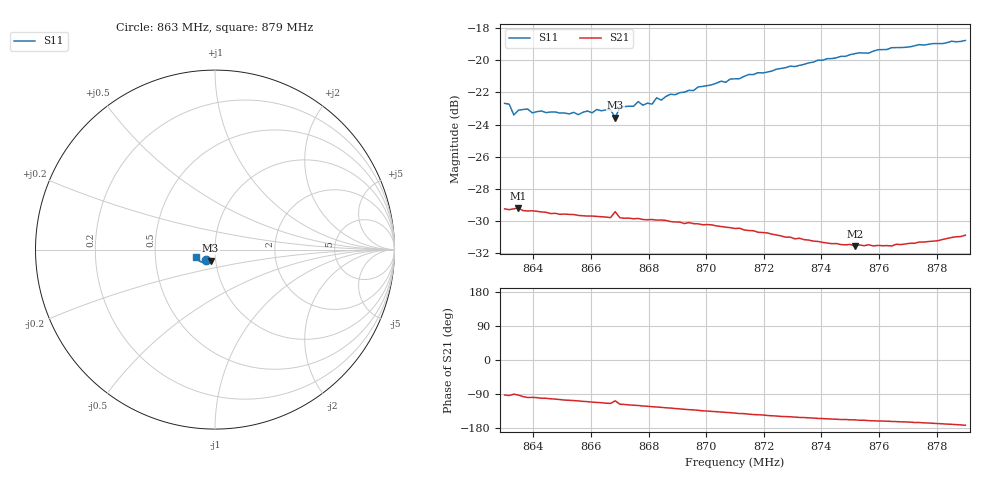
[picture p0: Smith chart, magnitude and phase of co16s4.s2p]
# HZ S RI R 50
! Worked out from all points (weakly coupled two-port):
!   101 points, 863 MHz to 879 MHz, reference 50 ohm
!   highest |S21| = -29.22 dB at 863.48 MHz (marker M1); lowest = -31.6 dB at 875.16 MHz (marker M2)
!   lowest |S11| = -23.6 dB at 866.84 MHz (marker M3), VSWR 1.14, Z = 47.2 - j5.82 ohm
!   |S11| at or under -10 dB: start of sweep to end of sweep
!   S12 and S22 are empty: the file has one direction only
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8.63e8  -0.0475 -0.056  -0.00139 -0.0344  0 0  0 0
8.6316e8  -0.0465 -0.0562  -0.00223 -0.0342  0 0  0 0
8.6332e8  -0.0446 -0.0508  -9.2e-05 -0.0345  0 0  0 0
8.6348e8  -0.0413 -0.0564  -0.00158 -0.0345  0 0  0 0
8.654e8  -0.0384 -0.0572  -0.00969 -0.0316  0 0  0 0
8.6556e8  -0.0383 -0.0559  -0.0102 -0.0312  0 0  0 0
8.6572e8  -0.0372 -0.058  -0.0108 -0.0309  0 0  0 0
8.6668e8  -0.0363 -0.0601  -0.0134 -0.0294  0 0  0 0
8.6684e8  -0.0248 -0.0614  -0.0103 -0.0321  0 0  0 0
8.67e8  -0.0366 -0.0613  -0.0145 -0.0289  0 0  0 0
8.6748e8  -0.036 -0.0623  -0.0157 -0.0279  0 0  0 0
8.6764e8  -0.0379 -0.064  -0.0161 -0.0278  0 0  0 0
8.678e8  -0.0368 -0.0625  -0.0166 -0.0273  0 0  0 0
8.6812e8  -0.043 -0.059  -0.0174 -0.0267  0 0  0 0
8.6828e8  -0.0384 -0.0661  -0.0178 -0.0263  0 0  0 0
8.6844e8  -0.0383 -0.0647  -0.0182 -0.026  0 0  0 0
8.6876e8  -0.0401 -0.0674  -0.0188 -0.0252  0 0  0 0
8.71e8  -0.0499 -0.072  -0.0229 -0.0192  0 0  0 0
8.7372e8  -0.0685 -0.0712  -0.0244 -0.0123  0 0  0 0
8.7516e8  -0.0808 -0.067  -0.0244 -0.00991  0 0  0 0
8.7644e8  -0.0917 -0.0599  -0.0251 -0.0081  0 0  0 0
8.79e8  -0.1085 -0.0392  -0.0282 -0.00387  0 0  0 0
